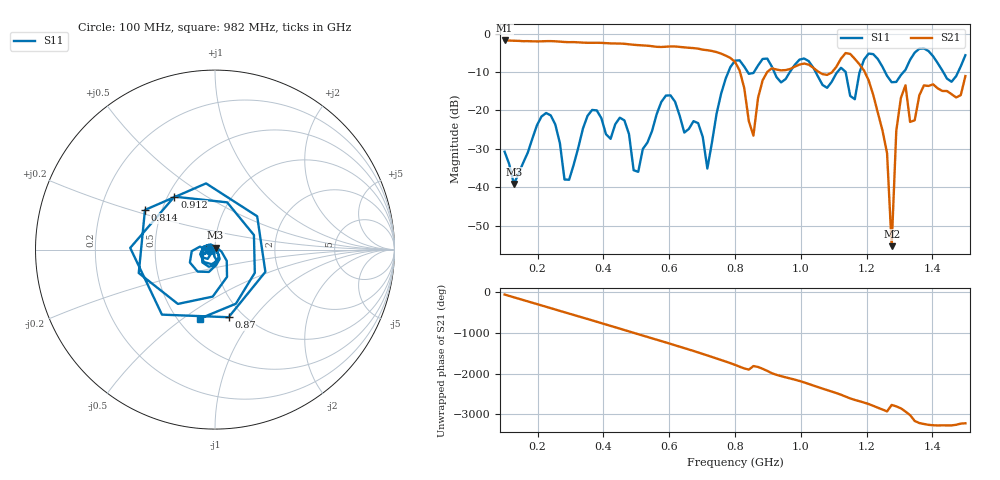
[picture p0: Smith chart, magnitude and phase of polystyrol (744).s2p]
! NanoVNA-App
! Date: 2025-09-25 15:35:40
! Start: 100MHz Stop: 1,5GHz Points: 101
! S-Parameter data: F S11 S21 S12 S22
# Hz S RI R 50
!  Frequency  S11_Real  S11_Imag  S21_Real  S21_Imag  S12_Real  S12_Imag  S22_Real  S22_Imag
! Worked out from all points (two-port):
!   101 points, 100 MHz to 1.5 GHz, reference 50 ohm
!   highest |S21| = -1.80 dB at 100 MHz (marker M1); lowest = -55.3 dB at 1.276 GHz (marker M2)
!   |S21| within 3 dB of the highest: start of sweep to 742.9 MHz
!   lowest |S11| = -39.1 dB at 128 MHz (marker M3), VSWR 1.02, Z = 50.3 + j1.06 ohm
!   |S11| at or under -10 dB: start of sweep to 779.8 MHz; 1.045 GHz to 1.111 GHz (66.37 MHz wide, 6.16 % of centre); 1.256 GHz to 1.312 GHz (56.08 MHz wide, 4.37 % of centre) (the widest 3 of 7)
!   S12 and S22 are empty: the file has one direction only
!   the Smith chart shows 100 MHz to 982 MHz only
!   S11 on the Smith chart (normalised r, x): 100 MHz: 0.94, -0.01; 814 MHz: 0.40, +0.22; 870 MHz: 0.86, -0.76; 912 MHz: 0.54, +0.37; 982 MHz: 0.64, -0.58
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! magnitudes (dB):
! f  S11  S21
! 100 MHz  -30.7  -1.8
! 128 MHz  -39.1  -1.9
! 212 MHz  -21.6  -2.0
! 282 MHz  -37.9  -2.2
! 338 MHz  -24.7  -2.4
! 506 MHz  -35.9  -3.0
! 576 MHz  -17.8  -3.5
! 716 MHz  -35.1  -4.3
! 800 MHz  -7.0  -7.4
! 814 MHz  -7.0  -9.6
! 856 MHz  -10.3  -26.6
! 870 MHz  -8.3  -16.7
! 912 MHz  -8.6  -9.0
! 982 MHz  -8.1  -8.6
! 1.038 GHz  -8.9  -8.9
! 1.164 GHz  -17.1  -6.6
! 1.206 GHz  -5.2  -12.1
! 1.262 GHz  -11.0  -31.1
! 1.276 GHz  -12.7  -55.3
! 1.29 GHz  -12.6  -25.3
! 1.318 GHz  -9.4  -13.5
! 1.5 GHz  -5.6  -11.1
